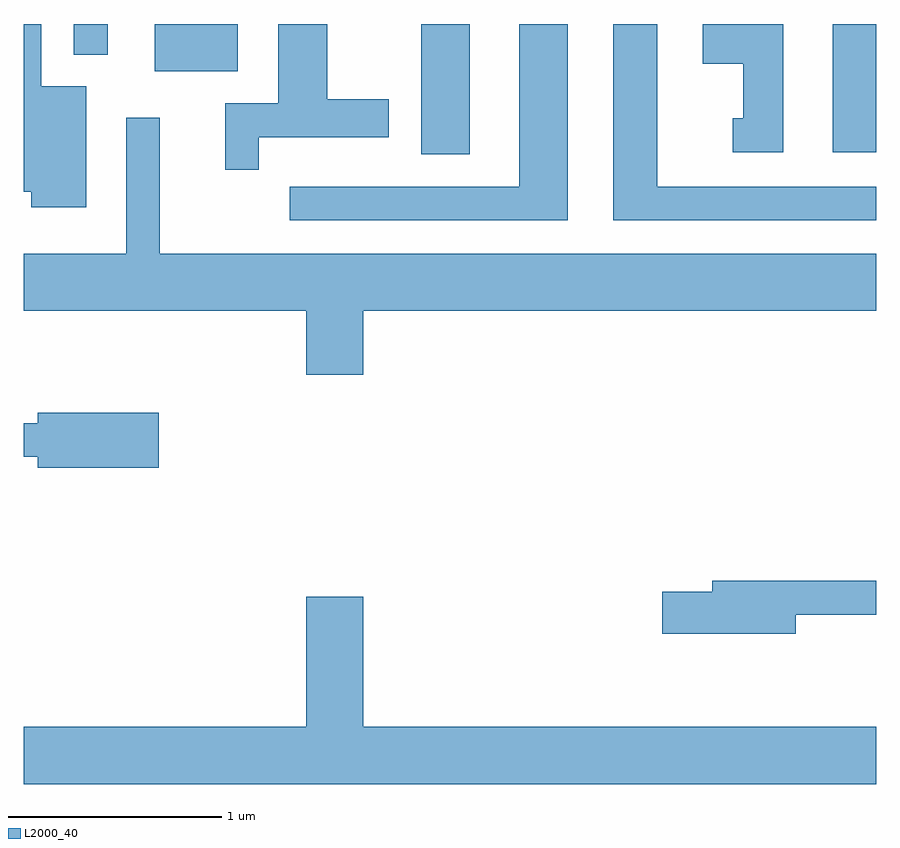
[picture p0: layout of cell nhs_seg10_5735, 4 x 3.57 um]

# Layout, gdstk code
import gdstk
lib = gdstk.Library(unit=1e-6, precision=1e-09)
def R(c, l, rs):  # rectangles x0, y0, x1, y1
    for r in rs: c.add(gdstk.rectangle(r[:2], r[2:], *l))
def P(c, l, *ps):  # polygons
    for p in ps: c.add(gdstk.Polygon(p, *l))
L2000_40 = (2000, 40)

nhs_seg10_5735 = lib.new_cell('nhs_seg10_5735')
R(nhs_seg10_5735, L2000_40, [(355.476,2187.911,355.704,2188.522), (357.406,2187.921,357.611,2188.522), (354.226,2188.301,354.614,2188.522), (353.846,2188.378,354.004,2188.522)])
P(nhs_seg10_5735, L2000_40, [(353.904,2188.229),(353.694,2188.229),(353.694,2188.522),(353.611,2188.522),(353.611,2187.736),(353.646,2187.736),(353.646,2187.661),(353.904,2187.661)],
  [(356.164,2188.522),(355.936,2188.522),(355.936,2187.759),(354.858,2187.759),(354.858,2187.601),(356.164,2187.601)],
  [(357.174,2188.522),(356.796,2188.522),(356.796,2188.336),(356.986,2188.336),(356.986,2188.079),(356.938,2188.079),(356.938,2187.921),(357.174,2187.921)],
  [(357.611,2187.759),(356.584,2187.759),(356.584,2188.522),(356.376,2188.522),(356.376,2187.601),(357.611,2187.601)],
  [(354.714,2187.991),(355.324,2187.991),(355.324,2188.169),(355.034,2188.169),(355.034,2188.522),(354.806,2188.522),(354.806,2188.149),(354.556,2188.149),(354.556,2187.838),(354.714,2187.838)],
  [(355.204,2187.176),(357.611,2187.176),(357.611,2187.444),(354.249,2187.444),(354.249,2188.083),(354.091,2188.083),(354.091,2187.444),(353.611,2187.444),(353.611,2187.176),(354.936,2187.176),(354.936,2186.876),(355.204,2186.876)],
  [(354.244,2186.699),(353.676,2186.699),(353.676,2186.649),(353.611,2186.649),(353.611,2186.491),(353.676,2186.491),(353.676,2186.441),(354.244,2186.441)],
  [(357.234,2185.751),(357.611,2185.751),(357.611,2185.909),(356.841,2185.909),(356.841,2185.859),(356.606,2185.859),(356.606,2185.661),(357.234,2185.661)],
  [(357.611,2185.224),(355.204,2185.224),(355.204,2185.834),(354.936,2185.834),(354.936,2185.224),(353.611,2185.224),(353.611,2184.956),(357.611,2184.956)])

lib.write_gds('nhs_seg10_5735.gds')
